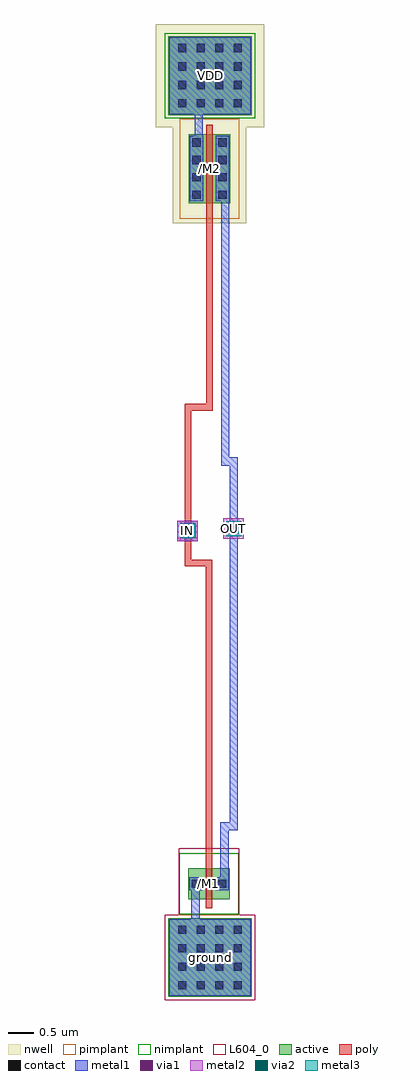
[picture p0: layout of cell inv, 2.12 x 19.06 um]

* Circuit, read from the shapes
.subckt inv IN OUT VDD ground
M1 OUT IN ground ground nfet w=0.6u l=0.13u
M2 OUT IN VDD VDD pfet w=1.35u l=0.13u
.ends

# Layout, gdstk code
import gdstk
lib = gdstk.Library(unit=1e-6, precision=1e-09)
def R(c, l, rs):  # rectangles x0, y0, x1, y1
    for r in rs: c.add(gdstk.rectangle(r[:2], r[2:], *l))
def A(c, l, x, y, w, h, nx, ny, dx, dy):  # array of equal rectangles
    R(c, l, [(x+i*dx, y+j*dy, x+i*dx+w, y+j*dy+h) for i in range(nx) for j in range(ny)])
def P(c, l, *ps):  # polygons
    for p in ps: c.add(gdstk.Polygon(p, *l))
nwell = (3, 0)
active = (6, 0)
poly = (17, 0)
pimplant = (25, 0)
nimplant = (26, 0)
contact = (30, 0)
metal1 = (31, 0)
metal2 = (32, 0)
metal3 = (33, 0)
via1 = (51, 0)
via2 = (52, 0)
L604_0 = (604, 0)

m1m2 = lib.new_cell('M1M2')
R(m1m2, metal1, [(-0.145,-0.145,0.145,0.145)])
R(m1m2, metal2, [(-0.145,-0.145,0.145,0.145)])
R(m1m2, via1, [(-0.095,-0.095,0.095,0.095)])

m2m3 = lib.new_cell('M2M3')
R(m2m3, metal2, [(-0.145,-0.145,0.145,0.145)])
R(m2m3, metal3, [(-0.145,-0.145,0.145,0.145)])
R(m2m3, via2, [(-0.095,-0.095,0.095,0.095)])

poly_m1 = lib.new_cell('POLY_M1')
R(poly_m1, poly, [(-0.15,-0.15,0.15,0.15)])
R(poly_m1, contact, [(-0.08,-0.08,0.08,0.08)])
R(poly_m1, metal1, [(-0.13,-0.13,0.13,0.13)])

inv = lib.new_cell('inv')
R(inv, nwell, [(-1.725,102.985,-0.295,105.115), (-2.06,104.855,0.06,106.875)])
R(inv, active, [(-1.82,87.875,-0.18,89.415), (-1.425,89.785,-0.615,90.385), (-1.415,103.375,-0.605,104.725), (-1.82,105.095,-0.18,106.635)])
R(inv, poly, [(-1.085,89.605,-0.955,89.785), (-1.085,89.785,-0.955,90.385), (-1.085,90.385,-0.955,90.565), (-1.075,103.195,-0.945,103.375), (-1.075,103.375,-0.945,104.725), (-1.075,104.725,-0.945,104.905)])
P(inv, poly, [(-1.495,96.285),(-1.085,96.285),(-1.085,90.435),(-0.955,90.435),(-0.955,96.415),(-1.365,96.415),(-1.365,99.325),(-0.945,99.325),(-0.945,103.325),(-1.075,103.325),(-1.075,99.455),(-1.495,99.455)])
R(inv, pimplant, [(-1.88,87.815,-0.12,89.475), (-1.595,103.075,-0.425,105.025)])
R(inv, nimplant, [(-1.605,89.485,-0.435,90.685), (-1.88,105.035,-0.12,106.695)])
A(inv, contact, -1.62, 88.025, 0.16, 0.16, 4, 4, 0.36, 0.36)
A(inv, contact, -1.345, 103.46, 0.16, 0.16, 1, 4, 0, 0.34)
A(inv, contact, -0.835, 103.46, 0.16, 0.16, 1, 4, 0, 0.34)
A(inv, contact, -1.62, 105.245, 0.16, 0.16, 4, 4, 0.36, 0.36)
R(inv, contact, [(-1.355,90.005,-1.195,90.165), (-0.845,90.005,-0.685,90.165)])
R(inv, metal1, [(-1.8,87.895,-0.2,89.395), (-1.8,87.895,-0.2,89.395), (-1.365,89.235,-1.205,90.115), (-1.405,89.955,-1.145,90.215), (-0.895,89.955,-0.635,90.215), (-1.635,96.775,-1.235,97.175), (-1.395,103.41,-1.135,104.69), (-0.885,103.41,-0.625,104.69), (-1.3,104.53,-1.14,105.275), (-1.8,105.115,-0.2,106.615), (-1.8,105.115,-0.2,106.615)])
P(inv, metal1, [(-0.795,90.055),(-0.635,90.055),(-0.635,91.13),(-0.455,91.13),(-0.455,98.41),(-0.625,98.41),(-0.625,103.57),(-0.785,103.57),(-0.785,98.25),(-0.615,98.25),(-0.615,91.29),(-0.795,91.29)])
R(inv, metal2, [(-1.635,96.775,-1.235,97.175), (-0.74,96.82,-0.34,97.22)])
R(inv, metal3, [(-1.53,96.88,-1.33,97.08), (-0.635,96.92,-0.435,97.12)])
R(inv, L604_0, [(-1.88,87.815,-0.12,89.475), (-1.615,89.395,-0.425,90.775)])
inv.add(gdstk.Reference(m1m2, (-0.535,97.02)))
inv.add(gdstk.Reference(m2m3, (-0.535,97.02)))
inv.add(gdstk.Reference(poly_m1, (-1.43,96.98)))
inv.add(gdstk.Reference(m1m2, (-1.43,96.98)))
inv.add(gdstk.Reference(m2m3, (-1.43,96.98)))
inv.add(gdstk.Label('/M1', (-1.02,90.085), layer=17, texttype=0))
inv.add(gdstk.Label('/M2', (-1.01,104.05), layer=17, texttype=0))
inv.add(gdstk.Label('IN', (-1.43,96.98), layer=133, texttype=0))
inv.add(gdstk.Label('OUT', (-0.535,97.02), layer=133, texttype=0))
inv.add(gdstk.Label('VDD', (-1,105.865), layer=131, texttype=0))
inv.add(gdstk.Label('ground', (-1,88.645), layer=131, texttype=0))

lib.write_gds('inv.gds')
